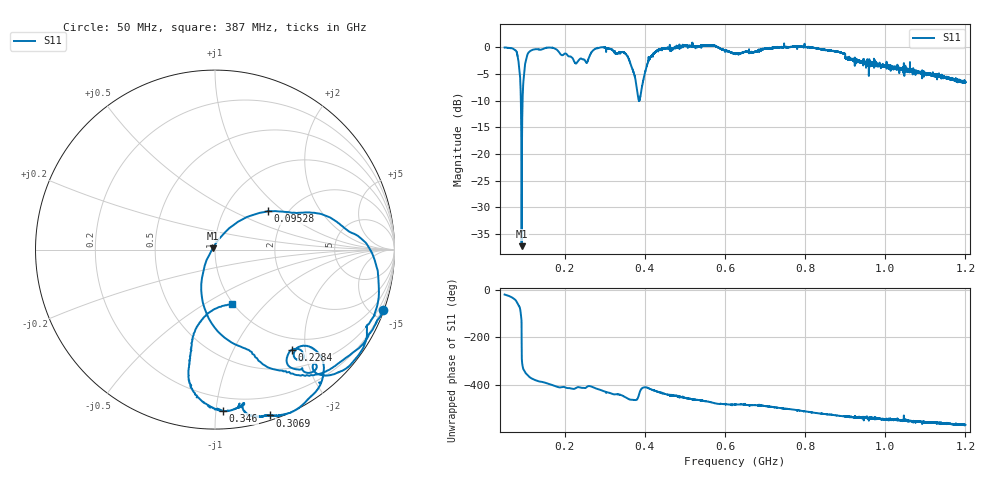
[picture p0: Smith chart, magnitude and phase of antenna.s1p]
! Calibrated high-resolution NanoVNA antenna measurement
# Hz S RI R 50
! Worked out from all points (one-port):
!   40001 points, 50 MHz to 1.2 GHz, reference 50 ohm
!   lowest |S11| = -37.2 dB at 92.52 MHz (marker M1), VSWR 1.03, Z = 48.9 + j0.782 ohm
!   |S11| at or under -10 dB: 90.55 MHz to 94.81 MHz (4.261 MHz wide, 4.6 % of centre); 385.4385 MHz to 385.6267 MHz (188.2 kHz wide, 0.0488 % of centre); 385.6278 MHz to 385.8506 MHz (222.8 kHz wide, 0.0578 % of centre)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
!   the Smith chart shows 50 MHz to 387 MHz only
!   S11 on the Smith chart (normalised r, x): 50 MHz: 0.11, -5.76; 95.28 MHz: 1.59, +0.79; 228.4 MHz: 0.79, -1.75; 306.9 MHz: 0.04, -1.38; 346 MHz: 0.11, -1.04; 387 MHz: 0.99, -0.68
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5e7  0.9357 -0.3348
7.12175e7  0.793 -0.5563
8.182625e7  0.4768 -0.7024
8.803625e7  0.1415 -0.5398
9.252125e7  -0.0112 0.00799
9.528125e7  0.2938 0.2138
1.040212e8  0.7641 0.0925
1.145725e8  0.9105 -0.1629
1.70405e8  0.7379 -0.6567
1.9375e8  0.5488 -0.6386
2.283938e8  0.4278 -0.5584
2.582075e8  0.5312 -0.5439
2.6942e8  0.6025 -0.6961
3.0691e8  0.305 -0.9243
3.375e8  0.1308 -0.8815
3.460388e8  0.0446 -0.8989
3.682338e8  -0.1411 -0.6185
3.870362e8  0.1002 -0.3062
4.110138e8  0.4366 -0.6369
4.391312e8  0.2818 -0.9094
4.8125e8  0.0323 -1.002
5.771312e8  -0.4819 -0.9014
6.25e8  -0.4687 -0.7337
7.6875e8  -0.8134 -0.5986
8.345012e8  -0.9101 -0.3309
9.125e8  -0.777 -0.0694
1.05625e9  -0.6035 0.1135
1.2e9  -0.419 0.2194
